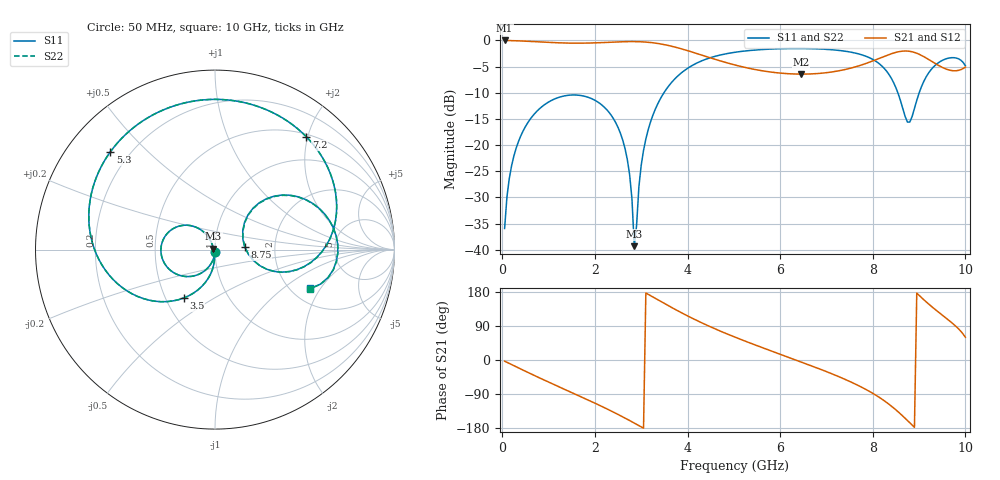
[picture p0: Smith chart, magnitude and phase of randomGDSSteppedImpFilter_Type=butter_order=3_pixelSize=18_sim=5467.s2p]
! freq	dB(S11)	phase(S11)	dB(S12)	phase(S12)
!  dB(S21)	phase(S21)	dB(S22)	phase(S22)
!S-par simulation data
#  GHz  S  DB  R 50
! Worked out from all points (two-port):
!   200 points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, 50 MHz to 10 GHz, reference 50 ohm
!   highest |S21| = -0.01 dB at 50 MHz (marker M1); lowest = -6.4 dB at 6.45 GHz (marker M2)
!   |S21| within 3 dB of the highest: start of sweep to 4.378 GHz; 8.26 GHz to 9.083 GHz (822.8 MHz wide, 9.49 % of centre)
!   lowest |S11| = -39.3 dB at 2.85 GHz (marker M3), VSWR 1.02, Z = 49 + j0.463 ohm
!   |S11| at or under -10 dB: start of sweep to 3.491 GHz; 8.541 GHz to 9.003 GHz (461.5 MHz wide, 5.26 % of centre)
!   |S22| runs from -39.3 to -1.5 dB; largest |S21 - S12| = 0
!   S11 on the Smith chart (normalised r, x): 50 MHz: 1.00, -0.03; 3.5 GHz: 0.62, -0.37; 5.3 GHz: 0.13, +0.39; 7.2 GHz: 0.54, +1.98; 8.75 GHz: 1.39, +0.05; 10 GHz: 2.51, -1.62
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0.05  -35.91 -92.8  -0.01 -3.0  -0.01 -3.0  -35.91 -92.8
0.2  -23.97 -102.1  -0.04 -12.0  -0.04 -12.0  -23.97 -102.1
0.5  -16.45 -120.1  -0.14 -29.7  -0.14 -29.7  -16.45 -120.1
1.75  -10.61 169.9  -0.52 -99.8  -0.52 -99.8  -10.61 169.9
2.55  -17.72 124.7  -0.26 -146.8  -0.26 -146.8  -17.72 124.7
2.75  -25.67 116.2  -0.22 -159.7  -0.22 -159.7  -25.68 116.4
2.85  -39.30 154.2  -0.22 -166.3  -0.22 -166.3  -39.27 154.5
3.05  -20.99 -95.2  -0.28 -179.9  -0.28 -179.9  -20.99 -95.1
3.4  -11.37 -116.3  -0.64 156.0  -0.64 156.0  -11.37 -116.3
3.5  -9.87 -122.9  -0.80 149.2  -0.80 149.2  -9.87 -122.8
4.15  -4.55 -163.8  -2.36 107.3  -2.36 107.3  -4.55 -163.8
5.05  -2.23 148.7  -4.75 59.1  -4.75 59.1  -2.23 148.7
5.3  -1.96 137.0  -5.27 47.2  -5.27 47.2  -1.96 137.0
6.45  -1.55 85.7  -6.43 -4.9  -6.43 -4.9  -1.55 85.6
6.7  -1.59 74.4  -6.38 -16.4  -6.38 -16.4  -1.59 74.3
7.2  -1.84 51.0  -5.91 -40.6  -5.91 -40.6  -1.84 50.9
7.85  -3.01 16.8  -4.41 -77.6  -4.41 -77.6  -3.01 16.7
8.35  -6.50 -13.5  -2.70 -116.7  -2.70 -116.7  -6.50 -13.6
8.75  -15.61 5.4  -2.03 -159.8  -2.03 -159.8  -15.55 5.3
9.25  -5.68 35.6  -3.88 143.1  -3.88 143.1  -5.67 35.2
9.7  -3.30 2.6  -5.75 99.0  -5.75 99.0  -3.29 2.3
10  -4.84 -22.2  -5.10 60.0  -5.10 60.0  -4.83 -22.2
